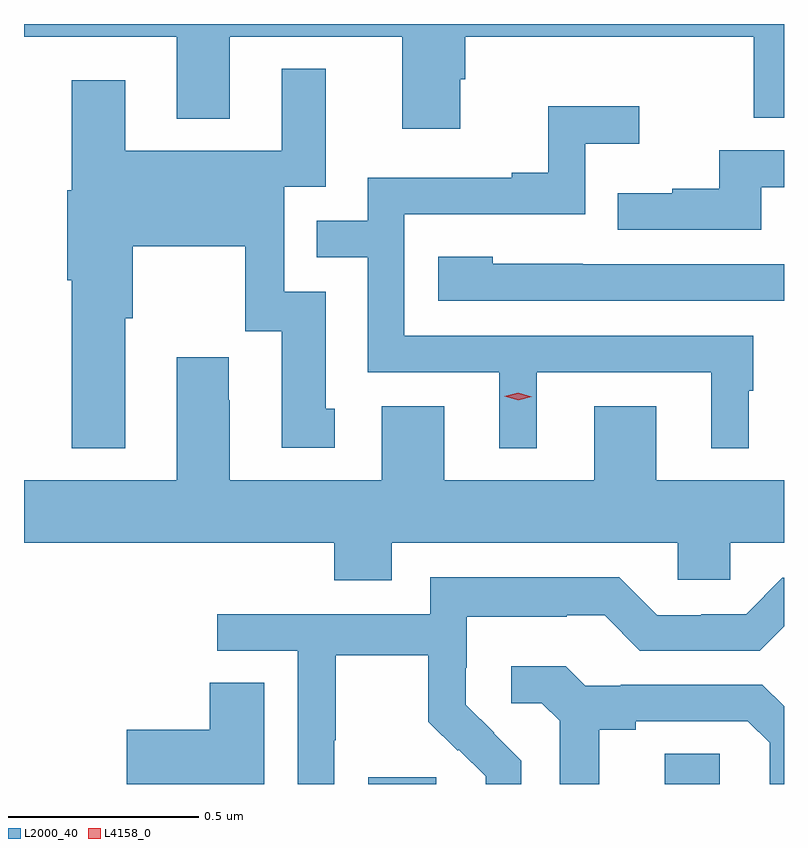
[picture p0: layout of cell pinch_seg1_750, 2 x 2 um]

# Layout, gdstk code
import gdstk
lib = gdstk.Library(unit=1e-6, precision=1e-09)
def R(c, l, rs):  # rectangles x0, y0, x1, y1
    for r in rs: c.add(gdstk.rectangle(r[:2], r[2:], *l))
def P(c, l, *ps):  # polygons
    for p in ps: c.add(gdstk.Polygon(p, *l))
L2000_40 = (2000, 40)
L4158_0 = (4158, 0)

pinch_seg1_750 = lib.new_cell('pinch_seg1_750')
R(pinch_seg1_750, L2000_40, [(636.851,527.121,637.03,527.139), (637.631,527.121,637.776,527.201)])
P(pinch_seg1_750, L2000_40, [(637.093,528.975),(637.106,528.975),(637.106,529.088),(637.866,529.088),(637.866,528.874),(637.945,528.874),(637.945,529.121),(635.945,529.121),(635.945,529.088),(636.347,529.088),(636.347,528.872),(636.487,528.872),(636.487,529.088),(636.941,529.088),(636.941,528.846),(637.093,528.846)],
  [(636.211,528.347),(636.231,528.347),(636.231,528.536),(636.527,528.536),(636.527,528.312),(636.623,528.312),(636.623,528.006),(636.763,528.006),(636.763,528.108),(636.739,528.108),(636.739,528.417),(636.63,528.417),(636.63,528.693),(636.739,528.693),(636.739,529.003),(636.623,529.003),(636.623,528.787),(636.211,528.787),(636.211,528.973),(636.071,528.973),(636.071,528.683),(636.059,528.683),(636.059,528.447),(636.071,528.447),(636.071,528.005),(636.211,528.005)],
  [(637.294,528.204),(637.754,528.204),(637.754,528.005),(637.852,528.005),(637.852,528.156),(637.864,528.156),(637.864,528.3),(636.945,528.3),(636.945,528.621),(637.422,528.621),(637.422,528.806),(637.564,528.806),(637.564,528.905),(637.324,528.905),(637.324,528.73),(637.229,528.73),(637.229,528.717),(636.849,528.717),(636.849,528.603),(636.715,528.603),(636.715,528.507),(636.849,528.507),(636.849,528.204),(637.196,528.204),(637.196,528.005),(637.294,528.005)],
  [(637.885,528.692),(637.945,528.692),(637.945,528.789),(637.775,528.789),(637.775,528.688),(637.651,528.688),(637.651,528.676),(637.507,528.676),(637.507,528.579),(637.885,528.579)],
  [(637.945,528.489),(637.415,528.489),(637.415,528.49),(637.179,528.49),(637.179,528.508),(637.035,528.508),(637.035,528.393),(637.945,528.393)],
  [(636.913,527.756),(637.665,527.756),(637.665,527.658),(637.803,527.658),(637.803,527.756),(637.945,527.756),(637.945,527.92),(637.609,527.92),(637.609,528.115),(637.445,528.115),(637.445,527.92),(637.051,527.92),(637.051,528.115),(636.887,528.115),(636.887,527.92),(636.487,527.92),(636.487,528.131),(636.484,528.131),(636.484,528.244),(636.347,528.244),(636.347,527.92),(635.945,527.92),(635.945,527.756),(636.761,527.756),(636.761,527.657),(636.913,527.657)],
  [(636.762,527.236),(636.765,527.236),(636.765,527.46),(637.009,527.46),(637.009,527.285),(637.086,527.208),(637.089,527.211),(637.16,527.141),(637.16,527.121),(637.254,527.121),(637.254,527.182),(637.181,527.255),(637.182,527.256),(637.108,527.33),(637.108,527.427),(637.11,527.427),(637.11,527.561),(637.373,527.561),(637.373,527.565),(637.473,527.565),(637.566,527.472),(637.881,527.472),(637.945,527.536),(637.945,527.664),(637.941,527.664),(637.845,527.568),(637.727,527.568),(637.727,527.565),(637.611,527.565),(637.511,527.665),(637.014,527.665),(637.014,527.568),(636.453,527.568),(636.453,527.472),(636.666,527.472),(636.666,527.121),(636.762,527.121)],
  [(637.459,527.264),(637.555,527.264),(637.555,527.286),(637.85,527.286),(637.907,527.229),(637.907,527.121),(637.945,527.121),(637.945,527.325),(637.888,527.382),(637.516,527.382),(637.516,527.379),(637.422,527.379),(637.37,527.431),(637.227,527.431),(637.227,527.334),(637.308,527.334),(637.355,527.287),(637.355,527.121),(637.459,527.121)],
  [(636.577,527.387),(636.434,527.387),(636.434,527.264),(636.216,527.264),(636.216,527.121),(636.577,527.121)])
P(pinch_seg1_750, L4158_0, [(637.245,528.131),(637.209,528.142),(637.209,528.142),(637.209,528.142),(637.245,528.151),(637.281,528.14),(637.281,528.14),(637.281,528.14)])

lib.write_gds('pinch_seg1_750.gds')
